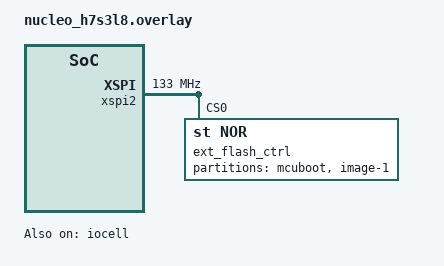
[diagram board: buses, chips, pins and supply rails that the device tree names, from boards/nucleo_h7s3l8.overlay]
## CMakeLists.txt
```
# Copyright (c) 2023 Bjarki Arge Andreasen
# SPDX-License-Identifier: Apache-2.0

cmake_minimum_required(VERSION 3.28.0)
find_package(Zephyr REQUIRED HINTS $ENV{ZEPHYR_BASE})
project(erase_blocks)

target_sources(app PRIVATE src/main.c)
```

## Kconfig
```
# SPDX-FileCopyrightText: Copyright (c) 2026 Infineon Technologies AG,
# SPDX-FileCopyrightText: or an affiliate of Infineon Technologies AG. All rights reserved.
#
# SPDX-License-Identifier: Apache-2.0

config TEST_FLASH_ERASE_BLOCKS_BUFFER_SIZE
	int "Flash erase-blocks test buffer size"
	default 512

source "Kconfig.zephyr"
```

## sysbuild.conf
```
# Copyright (c) 2023 Bjarki Arge Andreasen
# SPDX-License-Identifier: Apache-2.0

SB_CONFIG_BOOTLOADER_MCUBOOT=y
```

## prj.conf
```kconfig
# Copyright (c) 2023 Bjarki Arge Andreasen
# SPDX-License-Identifier: Apache-2.0

CONFIG_FLASH=y
CONFIG_ZTEST=y
```

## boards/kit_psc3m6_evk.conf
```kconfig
# SPDX-FileCopyrightText: Copyright (c) 2026 Infineon Technologies AG,
# SPDX-FileCopyrightText: or an affiliate of Infineon Technologies AG. All rights reserved.
#
# SPDX-License-Identifier: Apache-2.0

CONFIG_TEST_FLASH_ERASE_BLOCKS_BUFFER_SIZE=1024
```

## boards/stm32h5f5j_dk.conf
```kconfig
# Copyright (c) 2026 EXALT Technologies
# SPDX-License-Identifier: Apache-2.0

CONFIG_LOG=y
CONFIG_MSPI=y
CONFIG_MSPI_LOG_LEVEL_INF=y
CONFIG_HEAP_MEM_POOL_SIZE=8192
CONFIG_MSPI_MEMMAP=y
```

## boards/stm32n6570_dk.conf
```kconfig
# Copyright (c) 2026 EXALT Technologies
# SPDX-License-Identifier: Apache-2.0

CONFIG_MSPI=y
CONFIG_LOG=y
CONFIG_MSPI_LOG_LEVEL_INF=y
CONFIG_HEAP_MEM_POOL_SIZE=8192
CONFIG_MSPI_MEMMAP=y
```

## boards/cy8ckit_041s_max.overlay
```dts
/*
 * SPDX-FileCopyrightText: Copyright (c) 2026 Infineon Technologies AG,
 * SPDX-FileCopyrightText: or an affiliate of Infineon Technologies AG. All rights reserved.
 *
 * SPDX-License-Identifier: Apache-2.0
 */

&flash0 {
	status = "okay";

	partitions {
		#address-cells = <1>;
		#size-cells = <1>;
		compatible = "fixed-partitions";

		/* Test partition for flash driver erase blocks test */
		slot1_partition: partition@10000 {
			label = "slot1";
			reg = <0x10000 DT_SIZE_K(64)>;
		};
	};
};
```

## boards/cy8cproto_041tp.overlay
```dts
/*
 * SPDX-FileCopyrightText: Copyright (c) 2026 Infineon Technologies AG,
 * SPDX-FileCopyrightText: or an affiliate of Infineon Technologies AG. All rights reserved.
 *
 * SPDX-License-Identifier: Apache-2.0
 */

&flash0 {
	status = "okay";

	partitions {
		compatible = "fixed-partitions";
		#address-cells = <1>;
		#size-cells = <1>;

		/* Test partition for flash driver erase blocks test */
		slot1_partition: partition@10000 {
			reg = <0x10000 DT_SIZE_K(64)>;
			label = "slot1";
		};
	};
};
```

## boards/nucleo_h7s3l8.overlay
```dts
/*
 * Copyright (c) 2026 EXALT Technologies
 *
 * SPDX-License-Identifier: Apache-2.0
 */

/delete-node/ &xspi2;

/ {
	soc {
		xspi2: spi@5200a000 {
			compatible = "st,stm32-xspi-controller";
			reg = <0x5200a000 0x1000>, <0x70000000 DT_SIZE_M(256)>;
			interrupts = <106 0>;
			clock-names = "xspix";
			clocks = <&rcc STM32_CLOCK(AHB5, 12)>;
			clock-frequency = <DT_FREQ_M(133)>;
			op-mode = "MSPI_OP_MODE_CONTROLLER";
			st,csbound = <0>;
			#address-cells = <1>;
			#size-cells = <0>;
			pinctrl-0 = <&xspim_p2_clk_pn6 &xspim_p2_ncs1_pn1
				     &xspim_p2_io0_pn2 &xspim_p2_io1_pn3
				     &xspim_p2_io2_pn4 &xspim_p2_io3_pn5
				     &xspim_p2_io4_pn8 &xspim_p2_io5_pn9
				     &xspim_p2_io6_pn10 &xspim_p2_io7_pn11
				     &xspim_p2_dqs0_pn0>;
			pinctrl-names = "default";
			status = "okay";

			ext_flash_ctrl: xspi-nor-flash@0 {
				compatible = "st,nor", "mxicy,mx25u", "jedec,nor";
				reg = <0>;
				size = <DT_SIZE_M(256)>; /* 256Mbits */
				status = "okay";
				read-command = <0xec13>;
				write-command = <0x12ed>;
				memmap-config = <1 0x00000000 0 1>;
				rx-dummy = <20>;
				st,mem-type = "macronix";
				mspi-max-frequency = <DT_FREQ_M(133)>;
				mspi-io-mode = "MSPI_IO_MODE_OCTAL";
				mspi-data-rate = "MSPI_DATA_RATE_SINGLE";
				mspi-hardware-ce-num = <0>;
				command-length = "INSTR_2_BYTE";
				#address-cells = <1>;
				#size-cells = <1>;

				ext_flash: mx25uw25645: xspi-nor-flash@0 {
					compatible = "soc-nv-flash";
					reg = <0x0 DT_SIZE_M(32)>;
					write-block-size = <1>;
					erase-block-size = <DT_SIZE_K(4)>;

					partitions {
						compatible = "fixed-partitions";
						#address-cells = <1>;
						#size-cells = <1>;

						boot_partition: partition@0 {
							label = "mcuboot";
							reg = <0x00000000 DT_SIZE_K(64)>;
						};

						slot1_partition: partition@210000 {
							label = "image-1";
							reg = <0x210000 DT_SIZE_K(1536)>;
						};
					};
				};
			};
		};
	};
};

&iocell {
	status = "okay";

	vddxspi2 {
		/delete-property/ hslv-mode;
		/delete-property/ compensation-enabled;
	};
};
```

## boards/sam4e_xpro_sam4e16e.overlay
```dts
/*
 * Copyright (c) 2025 Nordic Semiconductor ASA
 *
 * SPDX-License-Identifier: Apache-2.0
 */

&flash0 {
	partitions {
		/delete-node/ storage_partition;

		slot1_partition: partition@84000 {
			label = "image-1";
			reg = <0x00084000 0x7C000>;
		};
	};
};
```

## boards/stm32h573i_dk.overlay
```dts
/*
 * Copyright (c) 2026 EXALT Technologies
 *
 * SPDX-License-Identifier: Apache-2.0
 */

/* Replace the xspi1 by a "st,stm32-xspi-controller" compatible */
/delete-node/ &xspi1;
/delete-node/ &boot_partition;
/delete-node/ &slot1_partition;

/ {
	soc {
		xspi1: mspi@47001400 {
			compatible = "st,stm32-xspi-controller";
			reg = <0x47001400 0x400>, <0x90000000 DT_SIZE_M(256)>;
			interrupts = <78 0>;
			clock-names = "xspix", "xspi-ker";
			clocks = <&rcc STM32_CLOCK(AHB4, 20U)>,
				 <&rcc STM32_SRC_PLL1_Q OCTOSPI1_SEL(1)>;
			clock-frequency = <DT_FREQ_M(50)>;
			#address-cells = <1>;
			#size-cells = <0>;
			st,csbound = <0>;
			op-mode = "MSPI_OP_MODE_CONTROLLER";
			status = "okay";
			pinctrl-0 = <&octospi1_io0_pb1 &octospi1_io1_pd12
				     &octospi1_io2_pc2 &octospi1_io3_pd13
				     &octospi1_io4_ph2 &octospi1_io5_ph3
				     &octospi1_io6_pg9 &octospi1_io7_pc0
				     &octospi1_clk_pf10 &octospi1_ncs_pg6
				     &octospi1_dqs_pb2>;
			pinctrl-names = "default";

			flash_controller: ospi-nor-flash@0 {
				compatible = "st,nor", "mxicy,mx25u", "jedec,nor";
				memmap-config = <1 0x00000000 0 1>;
				reg = <0>;
				size = <DT_SIZE_M(512)>; /* 512 Mbits */
				status = "okay";
				read-command = <0xee11>;
				write-command = <0x12ed>;
				st,mem-type = "macronix";
				rx-dummy = <20>;
				mspi-max-frequency = <DT_FREQ_M(50)>;
				mspi-io-mode = "MSPI_IO_MODE_OCTAL";
				mspi-data-rate = "MSPI_DATA_RATE_DUAL";
				mspi-hardware-ce-num = <0>;
				command-length = "INSTR_2_BYTE";
				jedec-id = [c2 85 3a];
				#address-cells = <1>;
				#size-cells = <1>;

				ext_flash: mx25lm51245: ext-flash@0 {
					compatible = "soc-nv-flash";
					reg = <0x0 DT_SIZE_M(64)>;
					write-block-size = <1>;
					erase-block-size = <DT_SIZE_K(4)>;

					partitions {
						compatible = "fixed-partitions";
						#address-cells = <1>;
						#size-cells = <1>;

						boot_partition: partition@0 {
							label = "mcuboot";
							reg = <0x00000000 DT_SIZE_K(64)>;
						};

						slot1_partition: partition@210000 {
							label = "image-1";
							reg = <0x210000 DT_SIZE_K(1536)>;
						};
					};
				};
			};
		};
	};
};
```

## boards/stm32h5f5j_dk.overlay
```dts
/*
 * Copyright (c) 2026 EXALT Technologies
 *
 * SPDX-License-Identifier: Apache-2.0
 */

/* Replace the xspi1 by a "st,stm32-mspi-controller" compatible */
/delete-node/ &xspi1;

/delete-node/ &boot_partition;
/delete-node/ &slot1_partition;

/ {
	soc {
		xspi1: spi@47001400 {
			compatible = "st,stm32-xspi-controller";
			reg = <0x47001400 0x400>, <0x90000000 DT_SIZE_M(256)>;
			interrupts = <78 0>;
			clock-names = "xspix", "xspi-ker";
			clocks = <&rcc STM32_CLOCK(AHB4, 20)>,
				 <&rcc STM32_SRC_PLL1_Q OCTOSPI1_SEL(1)>;
			#address-cells = <1>;
			#size-cells = <0>;
			clock-frequency = <DT_FREQ_M(50)>;
			op-mode = "MSPI_OP_MODE_CONTROLLER";
			pinctrl-0 = <&octospim_p1_io0_pc9 &octospim_p1_io1_pf9
				     &octospim_p1_io2_pe2 &octospim_p1_io3_pa6
				     &octospim_p1_io4_ph2 &octospim_p1_io5_ph3
				     &octospim_p1_io6_pe9 &octospim_p1_io7_pe10
				     &octospim_p1_clk_pf10 &octospim_p1_ncs1_pg6
				     &octospim_p1_dqs_pc5>;
			pinctrl-names = "default";
			st,csbound = <0>;
			status = "okay";

			ext_flash_ctrl: xspi-flash-controller@0 {
				compatible = "st,nor", "mxicy,mx25u", "jedec,nor";
				reg = <0>;
				size = <DT_SIZE_M(512)>; /* 512 Mbits */
				memmap-config = <1 0x00000000 0x00400000 0>;
				read-command = <0xee11>;
				write-command = <0x12ed>;
				rx-dummy = <20>;
				st,mem-type = "macronix";
				mspi-max-frequency = <DT_FREQ_M(50)>;
				mspi-io-mode = "MSPI_IO_MODE_OCTAL";
				mspi-data-rate = "MSPI_DATA_RATE_DUAL";
				mspi-hardware-ce-num = <0>;
				command-length = "INSTR_2_BYTE";
				status = "okay";
				#address-cells = <1>;
				#size-cells = <1>;

				ext_flash: mx25lm51245: ext-flash@0 {
					compatible = "soc-nv-flash";
					reg = <0x0 DT_SIZE_M(64)>;
					write-block-size = <1>;
					erase-block-size = <DT_SIZE_K(4)>;

					partitions {
						compatible = "fixed-partitions";
						#address-cells = <1>;
						#size-cells = <1>;

						boot_partition: partition@0 {
							label = "mcuboot";
							reg = <0x00000000 DT_SIZE_K(64)>;
						};

						slot1_partition: partition@210000 {
							label = "image-1";
							reg = <0x210000 DT_SIZE_K(1536)>;
						};
					};
				};
			};
		};
	};
};
```

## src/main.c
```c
/*
 * Copyright (c) 2023 Bjarki Arge Andreasen
 * SPDX-FileCopyrightText: Copyright (c) 2026 Infineon Technologies AG,
 * SPDX-FileCopyrightText: or an affiliate of Infineon Technologies AG. All rights reserved.
 *
 * SPDX-License-Identifier: Apache-2.0
 */

#include <zephyr/kernel.h>
#include <string.h>
#include <zephyr/drivers/flash.h>
#include <zephyr/storage/flash_map.h>
#include <zephyr/devicetree.h>
#include <zephyr/ztest.h>
#include <zephyr/logging/log.h>

LOG_MODULE_REGISTER(test_flash);

#ifdef CONFIG_BOOTLOADER_MCUBOOT

#define TEST_FLASH_PART_NODE \
	DT_NODELABEL(boot_partition)

#else

#define TEST_FLASH_PART_NODE \
	DT_NODELABEL(slot1_partition)

#endif

#define TEST_FLASH_PART_OFFSET \
	PARTITION_NODE_OFFSET(TEST_FLASH_PART_NODE)

#define TEST_FLASH_PART_SIZE \
	DT_REG_SIZE(TEST_FLASH_PART_NODE)

#define TEST_FLASH_PART_END_OFFSET \
	(TEST_FLASH_PART_OFFSET + TEST_FLASH_PART_SIZE)

#define TEST_FLASH_CONTROLLER_NODE \
	DT_MTD_FROM_PARTITION(TEST_FLASH_PART_NODE)

static const struct device *flash_controller = DEVICE_DT_GET(TEST_FLASH_CONTROLLER_NODE);
static uint8_t test_write_block[CONFIG_TEST_FLASH_ERASE_BLOCKS_BUFFER_SIZE];
static uint8_t test_read_block[CONFIG_TEST_FLASH_ERASE_BLOCKS_BUFFER_SIZE];

static void test_flash_fill_test_write_block(void)
{
	for (size_t i = 0; i < sizeof(test_write_block); i++) {
		test_write_block[i] = (uint8_t)i;
	}
}

static void *test_flash_setup(void)
{
	test_flash_fill_test_write_block();
	return NULL;
}

static bool test_flash_mem_is_set_to(const uint8_t *data, uint8_t to, size_t size)
{
	for (size_t i = 0; i < size; i++) {
		if (data[i] != to) {
			return false;
		}
	}

	return true;
}

static bool test_flash_is_erased(off_t offset, size_t size)
{
	static uint8_t test_erase_buffer[99];
	const struct flash_parameters *parameters = flash_get_parameters(flash_controller);
	size_t remaining;
	size_t readsize;

	while (offset < size) {
		remaining = size - (size_t)offset;
		readsize = MIN(sizeof(test_erase_buffer), remaining);

		if (flash_read(flash_controller, offset, test_erase_buffer, readsize) < 0) {
			return false;
		}

		if (!test_flash_mem_is_set_to(test_erase_buffer, parameters->erase_value,
					      readsize)) {
			return false;
		}

		offset += (off_t)readsize;
	}

	return true;
}

static bool test_flash_verify_partition_is_erased(void)
{
	return test_flash_is_erased(TEST_FLASH_PART_OFFSET, TEST_FLASH_PART_SIZE);
}

static int test_flash_erase_partition(void)
{
	LOG_INF("Erasing section of size %zu at offset %zu controlled by %s",
		TEST_FLASH_PART_SIZE,
		TEST_FLASH_PART_OFFSET,
		flash_controller->name);

	return flash_erase(flash_controller, TEST_FLASH_PART_OFFSET,
			   TEST_FLASH_PART_SIZE);
}

static void test_flash_before(void *f)
{
	ARG_UNUSED(f);
	__ASSERT(test_flash_erase_partition() == 0,
		 "Failed to erase partition");
	__ASSERT(test_flash_verify_partition_is_erased(),
		 "Failed to erase partition");
}

static void test_flash_write_block_at_offset(off_t offset, size_t size)
{
	zassert_ok(flash_write(flash_controller, offset, test_write_block, size),
		   "Failed to write block at offset %zu, of size %zu", (size_t)offset, size);
	zassert_ok(flash_read(flash_controller, offset, test_read_block, size),
		   "Failed to read block at offset %zu, of size %zu", (size_t)offset, size);
	zassert_ok(memcmp(test_write_block, test_read_block, size),
		   "Failed to write block at offset %zu, of size %zu to page", (size_t)offset,
		   size);
}

static void test_flash_write_across_page_boundary(const struct flash_pages_info *info,
						  size_t write_block_size)
{
	off_t page_boundary = info->start_offset;
	uint32_t page0_index = info->index - 1;
	uint32_t page1_index = info->index;
	off_t cross_write_start_offset = page_boundary - (off_t)write_block_size;
	size_t cross_write_size = write_block_size * 2;

	LOG_INF("Writing across page boundary at %zu, between page index %u and %u",
		(size_t)page_boundary,
		page0_index,
		page1_index);

	test_flash_write_block_at_offset(cross_write_start_offset, cross_write_size);
}

static bool test_flash_write_across_page_boundaries(const struct flash_pages_info *info,
						    void *data)
{
	size_t write_block_size = *((size_t *)data);

	if (info->start_offset <= TEST_FLASH_PART_OFFSET) {
		/* Not yet reached second page within partition */
		return true;
	}

	if (info->start_offset >= TEST_FLASH_PART_END_OFFSET) {
		/* Reached first page after partition end */
		return false;
	}

	test_flash_write_across_page_boundary(info, write_block_size);
	return true;
}

ZTEST(flash_page_layout, test_write_across_page_boundaries_in_part)
{
	const struct flash_parameters *parameters = flash_get_parameters(flash_controller);
	size_t write_block_size = parameters->write_block_size;

	flash_page_foreach(flash_controller, test_flash_write_across_page_boundaries,
			   &write_block_size);
}

static void test_flash_erase_page(const struct flash_pages_info *info)
{
	off_t page_offset = info->start_offset;
	size_t page_size = info->size;
	size_t page_index = info->index;

	LOG_INF("Erasing page at %zu of size %zu with index %zu",
		(size_t)page_offset, page_size, page_index);

	zassert_ok(flash_erase(flash_controller, page_offset, page_size),
		   "Failed to erase page");

	zassert_true(test_flash_is_erased(page_offset, page_size),
		     "Failed to erase page");
}

static bool test_flash_erase_pages(const struct flash_pages_info *info, void *data)
{
	if (info->start_offset < TEST_FLASH_PART_OFFSET) {
		/* Not yet reached first page within partition */
		return true;
	}

	if (info->start_offset >= TEST_FLASH_PART_END_OFFSET) {
		/* Reached first page after partition end */
		return false;
	}

	test_flash_erase_page(info);
	return true;
}

ZTEST(flash_page_layout, test_erase_single_pages_in_part)
{
	const struct flash_parameters *parameters = flash_get_parameters(flash_controller);
	size_t write_block_size = parameters->write_block_size;

	flash_page_foreach(flash_controller, test_flash_write_across_page_boundaries,
			   &write_block_size);

	flash_page_foreach(flash_controller, test_flash_erase_pages, NULL);
}

ZTEST_SUITE(flash_page_layout, NULL, test_flash_setup, test_flash_before, NULL, NULL);
```
